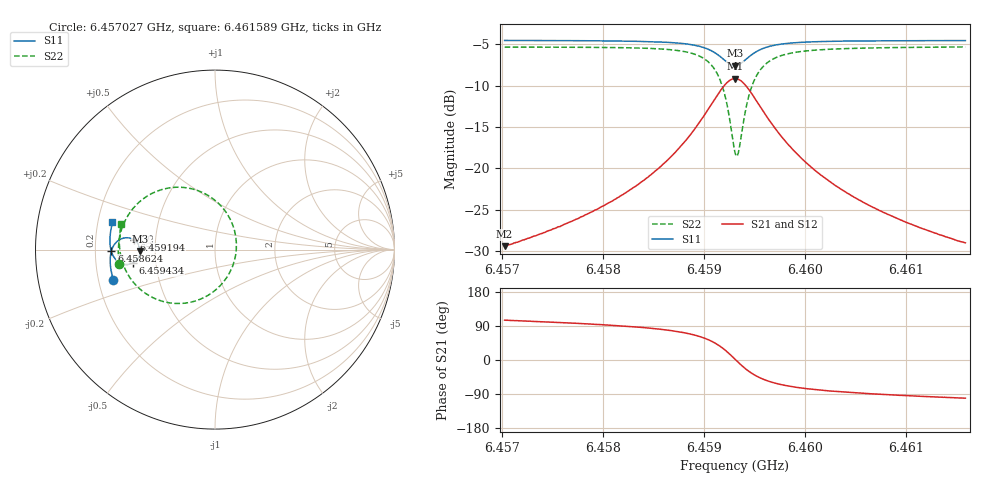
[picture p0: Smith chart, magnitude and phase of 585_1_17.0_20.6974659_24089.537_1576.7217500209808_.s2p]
#  HZ  S  RI  R  50.00
! Rohde & Schwarz Vector Network Analyzer
! Rohde-Schwarz,ZNB20-2Port,1311601062101988,3.16
! Created: UTC 3/20/2024, 11:18:16 PM
! freq[Hz]  re:S11  im:S11  re:S21  im:S21  re:S12  im:S12  re:S22  im:S22
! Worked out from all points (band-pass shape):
!   401 points, 6.457027 GHz to 6.461589 GHz, reference 50 ohm
!   highest |S21| = -9.15 dB at 6.459308 GHz (marker M1); lowest = -29.4 dB at 6.457027 GHz (marker M2)
!   |S21| within 3 dB of the highest: 6.459081 GHz to 6.459536 GHz (455.9 kHz wide, 0.00706 % of centre)
!   lowest |S11| = -7.6 dB at 6.459308 GHz (marker M3), VSWR 2.43, Z = 20.6 - j0.418 ohm
!   |S11| at or under -10 dB: nowhere
!   |S22| runs from -18.5 to -5.3 dB; largest |S21 - S12| = 0.014
!   S11 on the Smith chart (normalised r, x): 6.457027 GHz: 0.26, -0.14; 6.458624 GHz: 0.27, -0.01; 6.459194 GHz: 0.37, +0.05; 6.459434 GHz: 0.37, -0.07; 6.461589 GHz: 0.26, +0.12
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6.4570271e9  -0.5676 -0.1685  -0.00884 0.0328  -0.007 0.0328  -0.5337 -0.0803
6.4577912e9  -0.5812 -0.1013  -0.00532 0.0509  -0.00275 0.0503  -0.5384 0.00987
6.4582246e9  -0.5839 -0.0577  0.000973 0.0712  0.00442 0.0698  -0.5292 0.0795
6.4585553e9  -0.5799 -0.0177  0.0149 0.0996  0.0189 0.0968  -0.5036 0.1552
6.4586238e9  -0.5775 -0.00816  0.0203 0.1079  0.0244 0.1047  -0.4933 0.1753
6.4588177e9  -0.5648 0.0222  0.0471 0.139  0.0514 0.134  -0.4427 0.2449
6.4589659e9  -0.5418 0.0485  0.0929 0.1695  0.0962 0.1629  -0.3583 0.3093
6.4591028e9  -0.4976 0.0659  0.1808 0.186  0.1818 0.1784  -0.1973 0.3476
6.459194e9  -0.4528 0.0555  0.2713 0.1543  0.2715 0.1484  -0.0293 0.296
6.4592624e9  -0.4235 0.023  0.3323 0.0816  0.3345 0.0763  0.087 0.1648
6.4593081e9  -0.4165 -0.0084  0.3486 0.0131  0.3525 0.00596  0.1193 0.0363
6.4593423e9  -0.4205 -0.0324  0.3428 -0.0399  0.3468 -0.0491  0.1073 -0.0643
6.4593879e9  -0.4364 -0.0586  0.3138 -0.1002  0.3161 -0.1125  0.0486 -0.1788
6.4594335e9  -0.4586 -0.0751  0.2713 -0.1416  0.2703 -0.1552  -0.0379 -0.2543
6.4594791e9  -0.4816 -0.0821  0.2262 -0.1643  0.2222 -0.1775  -0.1284 -0.2914
6.4595248e9  -0.5023 -0.0821  0.1854 -0.173  0.179 -0.1847  -0.2092 -0.3003
6.459673e9  -0.5466 -0.0614  0.0966 -0.1587  0.0879 -0.1649  -0.3786 -0.2496
6.4598327e9  -0.5681 -0.0336  0.0513 -0.1301  0.0435 -0.133  -0.4595 -0.1762
6.4600722e9  -0.581 0.00197  0.022 -0.0983  0.0163 -0.0988  -0.5075 -0.0931
6.4604143e9  -0.5855 0.0429  0.00605 -0.071  0.00199 -0.0705  -0.5289 -0.0134
6.4608363e9  -0.5835 0.0853  -0.00159 -0.0524  -0.00442 -0.0515  -0.533 0.0549
6.4615891e9  -0.5713 0.1521  -0.00661 -0.035  -0.0083 -0.0339  -0.5214 0.1445
